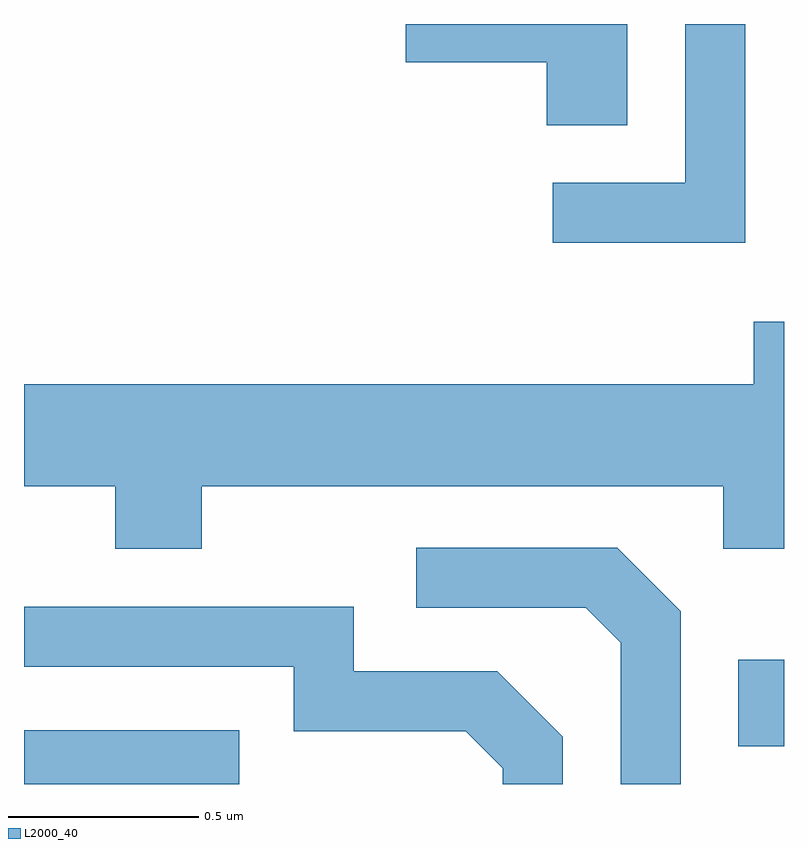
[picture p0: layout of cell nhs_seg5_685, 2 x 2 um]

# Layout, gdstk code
import gdstk
lib = gdstk.Library(unit=1e-6, precision=1e-09)
def R(c, l, rs):  # rectangles x0, y0, x1, y1
    for r in rs: c.add(gdstk.rectangle(r[:2], r[2:], *l))
def P(c, l, *ps):  # polygons
    for p in ps: c.add(gdstk.Polygon(p, *l))
L2000_40 = (2000, 40)

nhs_seg5_685 = lib.new_cell('nhs_seg5_685')
R(nhs_seg5_685, L2000_40, [(190.611,1396.072,191.178,1396.214), (192.491,1396.171,192.611,1396.399)])
P(nhs_seg5_685, L2000_40, [(192.199,1398.072),(191.616,1398.072),(191.616,1397.971),(191.986,1397.971),(191.986,1397.806),(192.199,1397.806)],
  [(192.509,1398.072),(192.351,1398.072),(192.351,1397.654),(192.003,1397.654),(192.003,1397.496),(192.509,1397.496)],
  [(191.079,1396.856),(192.451,1396.856),(192.451,1396.691),(192.611,1396.691),(192.611,1397.289),(192.531,1397.289),(192.531,1397.124),(190.611,1397.124),(190.611,1396.856),(190.851,1396.856),(190.851,1396.691),(191.079,1396.691)],
  [(192.339,1396.527),(192.172,1396.694),(191.643,1396.694),(191.643,1396.536),(192.089,1396.536),(192.181,1396.444),(192.181,1396.072),(192.339,1396.072)],
  [(192.029,1396.197),(191.857,1396.369),(191.479,1396.369),(191.479,1396.539),(190.611,1396.539),(190.611,1396.381),(191.321,1396.381),(191.321,1396.211),(191.774,1396.211),(191.871,1396.114),(191.871,1396.072),(192.029,1396.072)])

lib.write_gds('nhs_seg5_685.gds')
